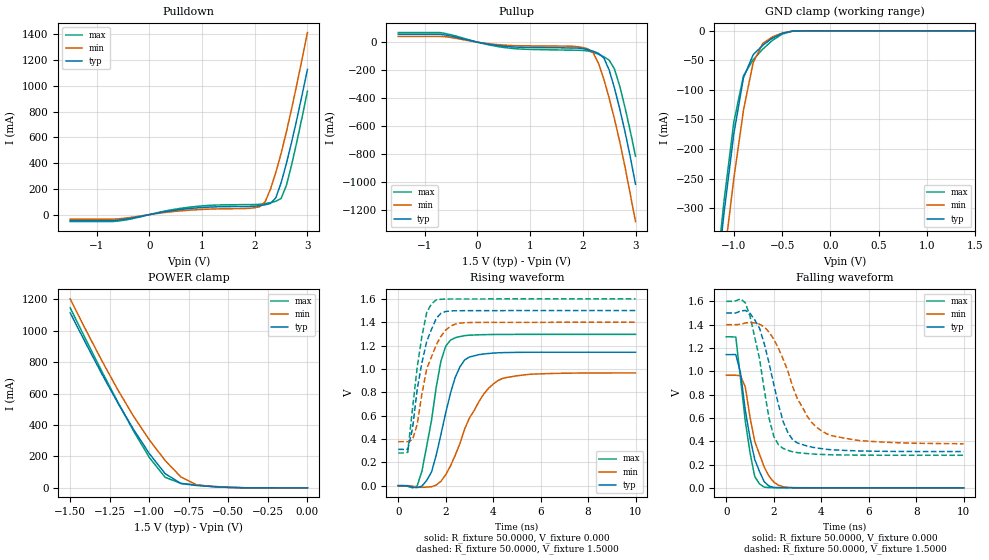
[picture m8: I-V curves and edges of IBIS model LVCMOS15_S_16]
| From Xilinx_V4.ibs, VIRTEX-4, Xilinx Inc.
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|   Model LVCMOS15_S_16
[Model]   LVCMOS15_S_16
Model_type   I/O
Polarity   Non-Inverting
Enable   Active-Low
Vinh = 1.05V
Vinl = 0.3V
Vmeas =   0.7500V
Cref =  0.000F
Rref =   1.0000M
Vref =  0.000V
C_comp   8.0000pF   8.0000pF   8.0000pF
[Temperature Range]   25.0000   85.0000   0.000
[Voltage Range]   1.5000V   1.4000V   1.6000V
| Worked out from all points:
|   slope of the pulldown table from 0 to 0.225 V, typ, clamps not added: 12.6 ohm
|   slope of the pullup table from 0 to 0.225 V, typ, clamps not added: 14.4 ohm
|   GND clamp passes 1 mA (typ) near -0.41 V on its own axis
|   POWER clamp passes 1 mA (typ) near -0.42 V on its own axis
|   rising waveform, R_fixture 50.0000, V_fixture 0.000: 20-80 % time 827ps typ, 1.31ns min, 648ps max; typ from 0 V to 1.14 V
|   rising waveform, R_fixture 50.0000, V_fixture 1.5000: 20-80 % time 615ps typ, 739ps min, 514ps max; typ from 0.311 V to 1.5 V
|   falling waveform, R_fixture 50.0000, V_fixture 0.000: 20-80 % time 583ps typ, 701ps min, 498ps max; typ from 1.14 V to 0 V
|   falling waveform, R_fixture 50.0000, V_fixture 1.5000: 20-80 % time 877ps typ, 1.32ns min, 721ps max; typ from 1.5 V to 0.311 V
[Pulldown]
| voltage   I(typ)   I(min)   I(max)
-1.5V     -46.57mA   -35.62mA   -53.71mA
-700mV    -46.57mA   -35.62mA   -53.71mA
800mV     48.87mA    35.77mA    59.77mA
1.8V      63.24mA    47.19mA    77.59mA
2.1V      70.24mA    62.47mA    80.76mA
2.2V      76.9mA     102.3mA    86.11mA
2.3V      86.94mA    199.5mA    93.84mA
2.4V      130.9mA    327.6mA    103.6mA
2.5V      246.9mA    474.8mA    125.7mA
2.6V      396.4mA    640.8mA    226mA
2.7V      562.8mA    822.5mA    386.9mA
3V        1.129A     1.414A     958.2mA
[Pullup]
| voltage   I(typ)   I(min)   I(max)
-1.5V     56.2mA     40.66mA    68.16mA
-700mV    56.2mA     40.66mA    68.16mA
600mV     -32.36mA   -23.33mA   -42.57mA
1.9V      -42.37mA   -32.33mA   -58.02mA
2.2V      -65.16mA   -77.39mA   -72.84mA
2.3V      -80.55mA   -152.7mA   -87.21mA
2.4V      -112.6mA   -265.5mA   -104.9mA
2.5V      -198.6mA   -399mA     -128.2mA
2.6V      -326.2mA   -546.7mA   -190.6mA
2.7V      -474.9mA   -708.9mA   -312.7mA
2.8V      -638.3mA   -888.3mA   -464.9mA
3V        -1.014A    -1.28A     -813.7mA
[GND_clamp]
| voltage   I(typ)   I(min)   I(max)
-1.5V     -1.005A    -1.076A    -996.1mA
-1.2V     -458.4mA   -535.2mA   -443.2mA
-1.1V     -307mA     -386mA     -286.5mA
-1V       -174.9mA   -250.6mA   -154.8mA
-900mV    -79.61mA   -134.7mA   -76.27mA
-800mV    -40.54mA   -53.98mA   -48.94mA
-700mV    -24.41mA   -21.32mA   -30.96mA
-600mV    -12.44mA   -10.24mA   -16.17mA
-500mV    -4.23mA    -3.859mA   -5.633mA
-400mV    -647uA     -794.1uA   -841.7uA
-300mV    -43.21uA   -80.69uA   -50.76uA
1.5V      152nA      562.3nA    149.6nA
[POWER_clamp]
| voltage   I(typ)   I(min)   I(max)
-1.5V     1.115A     1.204A     1.147A
-1.3V     726.2mA    810.7mA    742.4mA
-1.2V     543.3mA    626.5mA    548.6mA
-1.1V     373.1mA    457.2mA    363.5mA
-1V       218.7mA    306.5mA    193.9mA
-900mV    90.67mA    174.3mA    67.17mA
-800mV    27.68mA    69.38mA    28.46mA
-700mV    14.76mA    18.63mA    17.76mA
-500mV    2.851mA    2.954mA    3.657mA
0V        152nA      168.5nA    160.4nA
[Ramp]
| variable   typ   min   max
dV/dt_r   0.6858/0.8182n   0.5795/1.3046n   0.7776/0.5772n
dV/dt_f   0.7133/0.8646n   0.6130/1.3147n   0.7924/0.6476n
R_load = 50.0000
[Rising Waveform]
R_fixture = 50.0000
V_fixture = 0.000
| time   V(typ)   V(min)   V(max)
0s        0V         0V         0V
800ps     -16.72mV   -13.57mV   -757uV
1ns       -3.721mV   -15.08mV   126.5mV
1.4ns     115.7mV    -9.212mV   556.8mV
1.8ns     439.6mV    37.75mV    1.068V
2.2ns     790.9mV    168.8mV    1.246V
2.8ns     1.077V     485.1mV    1.285V
3.6ns     1.128V     783.7mV    1.294V
4.2ns     1.138V     899.5mV    1.295V
10ns      1.143V     965.8mV    1.296V
[Rising Waveform]
R_fixture = 50.0000
V_fixture = 1.5000
V_fixture_min = 1.4000
V_fixture_max = 1.6000
| time   V(typ)   V(min)   V(max)
0s        310.9mV    376.5mV    279.4mV
400ps     311.1mV    376.5mV    285.8mV
600ps     487.4mV    393.5mV    658.8mV
800ps     826.2mV    525.4mV    1.017V
1ns       1.056V     789.4mV    1.284V
1.2ns     1.236V     1.002V     1.483V
1.6ns     1.432V     1.205V     1.591V
2ns       1.492V     1.333V     1.598V
2.6ns     1.498V     1.392V     1.599V
10ns      1.5V       1.4V       1.6V
[Falling Waveform]
R_fixture = 50.0000
V_fixture = 0.000
| time   V(typ)   V(min)   V(max)
0s        1.143V     965.9mV    1.296V
400ps     1.143V     965.8mV    1.293V
600ps     986mV      962mV      935.1mV
800ps     664.8mV    865.1mV    571.8mV
1ns       428.4mV    604.3mV    301.9mV
1.2ns     243mV      397.4mV    96.3mV
1.6ns     51.95mV    177.5mV    6.133mV
2ns       4.407mV    49.63mV    1.253mV
2.6ns     1.081mV    4.268mV    727.4uV
10ns      3.359uV    19.89uV    -527.7nV
[Falling Waveform]
R_fixture = 50.0000
V_fixture = 1.5000
V_fixture_min = 1.4000
V_fixture_max = 1.6000
| time   V(typ)   V(min)   V(max)
0s        1.5V       1.4V       1.6V
800ps     1.522V     1.414V     1.588V
1.4ns     1.369V     1.405V     1.107V
1.8ns     1.071V     1.337V     598.8mV
2ns       889.1mV    1.276V     442mV
2.4ns     566.4mV    1.102V     337.9mV
2.8ns     411.8mV    866.3mV    309.1mV
3.4ns     359.2mV    617.7mV    294.1mV
4.2ns     331.3mV    467mV      285mV
10ns      311.1mV    378.3mV    279.4mV
